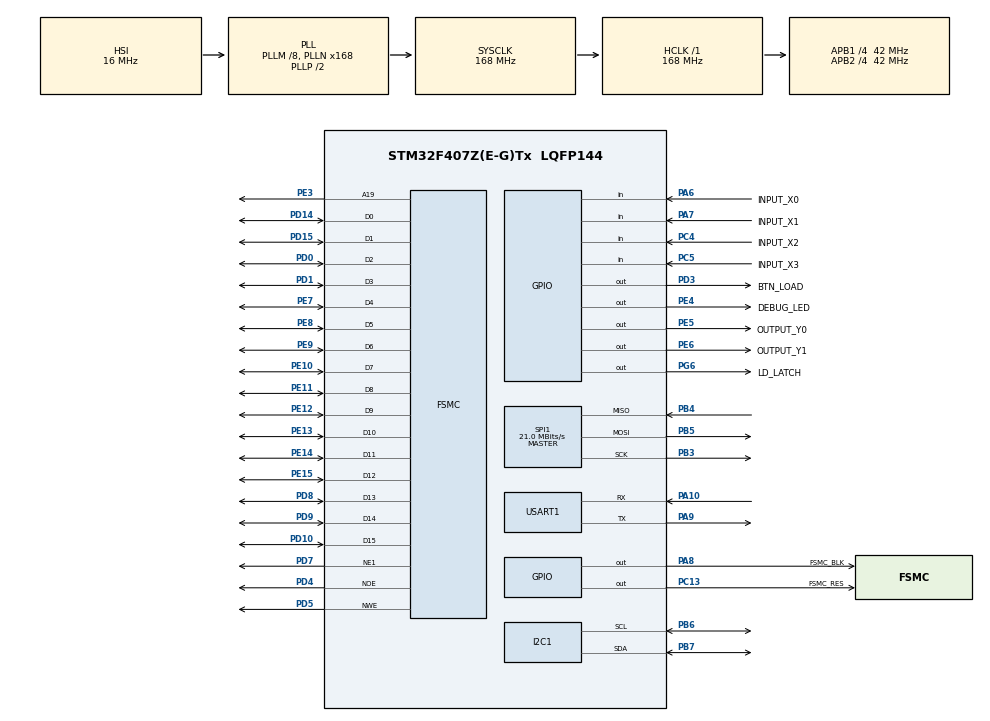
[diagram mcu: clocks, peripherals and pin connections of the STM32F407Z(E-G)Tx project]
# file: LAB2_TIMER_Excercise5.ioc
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FSMC.AddressSetupTime1=0xf
FSMC.BusTurnAroundDuration1=0
FSMC.DataSetupTime1=60
FSMC.ExtendedAddressSetupTime1=8
FSMC.ExtendedBusTurnAroundDuration1=0
FSMC.ExtendedDataSetupTime1=9
FSMC.ExtendedMode1=FSMC_EXTENDED_MODE_ENABLE
I2C1.I2C_Mode=I2C_Standard
Mcu.Family=STM32F4
Mcu.Name=STM32F407Z(E-G)Tx
Mcu.Package=LQFP144
NVIC.PriorityGroup=NVIC_PRIORITYGROUP_4
NVIC.TIM2_IRQn=true\:0\:0\:false\:false\:true\:true\:true
NVIC.USART1_IRQn=true\:0\:0\:false\:false\:true\:true\:true
PA10.Mode=Asynchronous
PA10.Signal=USART1_RX
PA13.Mode=Serial_Wire
PA13.Signal=SYS_JTMS-SWDIO
PA14.Mode=Serial_Wire
PA14.Signal=SYS_JTCK-SWCLK
PA6.GPIO_Label=INPUT_X0
PA6.Signal=GPIO_Input
PA7.GPIO_Label=INPUT_X1
PA7.Signal=GPIO_Input
PA8.GPIO_Label=FSMC_BLK
PA8.Signal=GPIO_Output
PA9.Mode=Asynchronous
PA9.Signal=USART1_TX
PB3.Mode=Full_Duplex_Master
PB3.Signal=SPI1_SCK
PB4.Mode=Full_Duplex_Master
PB4.Signal=SPI1_MISO
PB5.Mode=Full_Duplex_Master
PB5.Signal=SPI1_MOSI
PB6.Mode=I2C
PB6.Signal=I2C1_SCL
PB7.Mode=I2C
PB7.Signal=I2C1_SDA
PC13-ANTI_TAMP.GPIO_Label=FSMC_RES
PC13-ANTI_TAMP.Signal=GPIO_Output
PC4.GPIO_Label=INPUT_X2
PC4.Signal=GPIO_Input
PC5.GPIO_Label=INPUT_X3
PC5.Signal=GPIO_Input
PD0.Signal=FSMC_D2_DA2
PD1.Signal=FSMC_D3_DA3
PD10.Signal=FSMC_D15_DA15
PD14.Signal=FSMC_D0_DA0
PD15.Signal=FSMC_D1_DA1
PD3.GPIO_Label=BTN_LOAD
PD3.Signal=GPIO_Output
PD4.Signal=FSMC_NOE
PD5.Signal=FSMC_NWE
PD7.Mode=NorPsramChipSelect1_1
PD7.Signal=FSMC_NE1
PD8.Signal=FSMC_D13_DA13
PD9.Signal=FSMC_D14_DA14
PE10.Signal=FSMC_D7_DA7
PE11.Signal=FSMC_D8_DA8
PE12.Signal=FSMC_D9_DA9
PE13.Signal=FSMC_D10_DA10
PE14.Signal=FSMC_D11_DA11
PE15.Signal=FSMC_D12_DA12
PE3.Signal=FSMC_A19
PE4.GPIO_Label=DEBUG_LED
PE4.Signal=GPIO_Output
PE5.GPIO_Label=OUTPUT_Y0
PE5.Signal=GPIO_Output
PE6.GPIO_Label=OUTPUT_Y1
PE6.Signal=GPIO_Output
PE7.Signal=FSMC_D4_DA4
PE8.Signal=FSMC_D5_DA5
PE9.Signal=FSMC_D6_DA6
PG6.GPIO_Label=LD_LATCH
PG6.Signal=GPIO_Output
PH0-OSC_IN.Mode=HSE-External-Oscillator
PH0-OSC_IN.Signal=RCC_OSC_IN
PH1-OSC_OUT.Mode=HSE-External-Oscillator
PH1-OSC_OUT.Signal=RCC_OSC_OUT
ProjectManager.HeapSize=0x200
ProjectManager.StackSize=0x400
ProjectManager.TargetToolchain=STM32CubeIDE
RCC.48MHZClocksFreq_Value=84000000
RCC.AHBFreq_Value=168000000
RCC.APB1CLKDivider=RCC_HCLK_DIV4
RCC.APB1Freq_Value=42000000
RCC.APB1TimFreq_Value=84000000
RCC.APB2CLKDivider=RCC_HCLK_DIV4
RCC.APB2Freq_Value=42000000
RCC.APB2TimFreq_Value=84000000
RCC.CortexFreq_Value=168000000
RCC.HCLKFreq_Value=168000000
RCC.HSE_VALUE=8000000
RCC.HSI_VALUE=16000000
RCC.LSE_VALUE=32768
RCC.PLLM=8
RCC.PLLN=168
RCC.SYSCLKFreq_VALUE=168000000
RCC.SYSCLKSource=RCC_SYSCLKSOURCE_PLLCLK
RCC.VCOOutputFreq_Value=336000000
SH.FSMC_A19.0=FSMC_A19,A19_1
SH.FSMC_D0_DA0.0=FSMC_D0,16b-d1
SH.FSMC_D10_DA10.0=FSMC_D10,16b-d1
SH.FSMC_D11_DA11.0=FSMC_D11,16b-d1
SH.FSMC_D12_DA12.0=FSMC_D12,16b-d1
SH.FSMC_D13_DA13.0=FSMC_D13,16b-d1
SH.FSMC_D14_DA14.0=FSMC_D14,16b-d1
SH.FSMC_D15_DA15.0=FSMC_D15,16b-d1
SH.FSMC_D1_DA1.0=FSMC_D1,16b-d1
SH.FSMC_D2_DA2.0=FSMC_D2,16b-d1
SH.FSMC_D3_DA3.0=FSMC_D3,16b-d1
SH.FSMC_D4_DA4.0=FSMC_D4,16b-d1
SH.FSMC_D5_DA5.0=FSMC_D5,16b-d1
SH.FSMC_D6_DA6.0=FSMC_D6,16b-d1
SH.FSMC_D7_DA7.0=FSMC_D7,16b-d1
SH.FSMC_D8_DA8.0=FSMC_D8,16b-d1
SH.FSMC_D9_DA9.0=FSMC_D9,16b-d1
SH.FSMC_NOE.0=FSMC_NOE,Lcd1
SH.FSMC_NWE.0=FSMC_NWE,Lcd1
SPI1.BaudRatePrescaler=SPI_BAUDRATEPRESCALER_2
SPI1.CalculateBaudRate=21.0 MBits/s
SPI1.Direction=SPI_DIRECTION_2LINES
SPI1.Mode=SPI_MODE_MASTER
SPI1.VirtualType=VM_MASTER
TIM2.Period=100-1
TIM2.Prescaler=840-1
USART1.VirtualMode=VM_ASYNC
VP_TIM2_VS_ClockSourceINT.Mode=Internal
board=custom

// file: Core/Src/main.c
/* USER CODE BEGIN Header */
/**
  ******************************************************************************
  * @file           : main.c
  * @brief          : Main program body
  ******************************************************************************
  * @attention
  *
  * <h2><center>&copy; Copyright (c) 2024 STMicroelectronics.
  * All rights reserved.</center></h2>
  *
  * This software component is licensed by ST under BSD 3-Clause license,
  * the "License"; You may not use this file except in compliance with the
  * License. You may obtain a copy of the License at:
  *                        opensource.org/licenses/BSD-3-Clause
  *
  ******************************************************************************
  */
/* USER CODE END Header */
#include "main.h"
#include "i2c.h"
#include "spi.h"
#include "tim.h"
#include "usart.h"
#include "gpio.h"
#include "fsmc.h"

/* USER CODE BEGIN Includes */
#include "software_timer.h"
#include "led_7seg.h"
/* USER CODE END Includes */

void SystemClock_Config(void);
/* USER CODE BEGIN PFP */
void system_init();
void shiftNumRight();
/* USER CODE END PFP */

int main(void)
{

  /* MCU Configuration--------------------------------------------------------*/

  /* Reset of all peripherals, Initializes the Flash interface and the Systick. */
  HAL_Init();

  /* Configure the system clock */
  SystemClock_Config();

  /* Initialize all configured peripherals */
  MX_GPIO_Init();
  MX_TIM2_Init();
  MX_SPI1_Init();
  MX_FSMC_Init();
  MX_I2C1_Init();
  MX_USART1_UART_Init();
  /* USER CODE BEGIN 2 */
  system_init();
  led7_SetColon(1);
  /* USER CODE END 2 */

  /* Infinite loop */
  /* USER CODE BEGIN WHILE */
  while (1)
  {
	  while(!flag_timer2);
	  flag_timer2 = 0;
	  //Tasks
	  shiftNumRight();
    /* USER CODE END WHILE */

  }
}

void SystemClock_Config(void)
{
  RCC_OscInitTypeDef RCC_OscInitStruct = {0};
  RCC_ClkInitTypeDef RCC_ClkInitStruct = {0};

  /** Configure the main internal regulator output voltage
  */
  __HAL_RCC_PWR_CLK_ENABLE();
  __HAL_PWR_VOLTAGESCALING_CONFIG(PWR_REGULATOR_VOLTAGE_SCALE1);
  /** Initializes the RCC Oscillators according to the specified parameters
  * in the RCC_OscInitTypeDef structure.
  */
  RCC_OscInitStruct.OscillatorType = RCC_OSCILLATORTYPE_HSI;
  RCC_OscInitStruct.HSIState = RCC_HSI_ON;
  RCC_OscInitStruct.HSICalibrationValue = RCC_HSICALIBRATION_DEFAULT;
  RCC_OscInitStruct.PLL.PLLState = RCC_PLL_ON;
  RCC_OscInitStruct.PLL.PLLSource = RCC_PLLSOURCE_HSI;
  RCC_OscInitStruct.PLL.PLLM = 8;
  RCC_OscInitStruct.PLL.PLLN = 168;
  RCC_OscInitStruct.PLL.PLLP = RCC_PLLP_DIV2;
  RCC_OscInitStruct.PLL.PLLQ = 4;
  if (HAL_RCC_OscConfig(&RCC_OscInitStruct) != HAL_OK)
  {
    Error_Handler();
  }
  /** Initializes the CPU, AHB and APB buses clocks
  */
  RCC_ClkInitStruct.ClockType = RCC_CLOCKTYPE_HCLK|RCC_CLOCKTYPE_SYSCLK
                              |RCC_CLOCKTYPE_PCLK1|RCC_CLOCKTYPE_PCLK2;
  RCC_ClkInitStruct.SYSCLKSource = RCC_SYSCLKSOURCE_PLLCLK;
  RCC_ClkInitStruct.AHBCLKDivider = RCC_SYSCLK_DIV1;
  RCC_ClkInitStruct.APB1CLKDivider = RCC_HCLK_DIV4;
  RCC_ClkInitStruct.APB2CLKDivider = RCC_HCLK_DIV4;

  if (HAL_RCC_ClockConfig(&RCC_ClkInitStruct, FLASH_LATENCY_5) != HAL_OK)
  {
    Error_Handler();
  }
}

/* USER CODE BEGIN 4 */
void system_init(){
	  HAL_GPIO_WritePin(OUTPUT_Y0_GPIO_Port, OUTPUT_Y0_Pin, 0);
	  HAL_GPIO_WritePin(OUTPUT_Y1_GPIO_Port, OUTPUT_Y1_Pin, 0);
	  HAL_GPIO_WritePin(DEBUG_LED_GPIO_Port, DEBUG_LED_Pin, 0);
	  timer_init();
	  led7_init();

	  setTimer2(50);
}

uint8_t a = 1;
uint8_t b = 2;
uint8_t c = 3;
uint8_t d = 4;

uint8_t count = 0;

void shiftNumRight() {
	count = (count + 1) % 20;
	if (count == 0) {
		uint8_t temp = d;
		led7_SetDigit(a, 0, 0);
		led7_SetDigit(b, 1, 0);
		led7_SetDigit(c, 2, 0);
		led7_SetDigit(d, 3, 0);
		d = c;
		c = b;
		b = a;
		a = temp;
	}

}
/* USER CODE END 4 */

void Error_Handler(void)
{
  __disable_irq();
  while (1)
  {
  }
}

/************************ (C) COPYRIGHT STMicroelectronics *****END OF FILE****/
